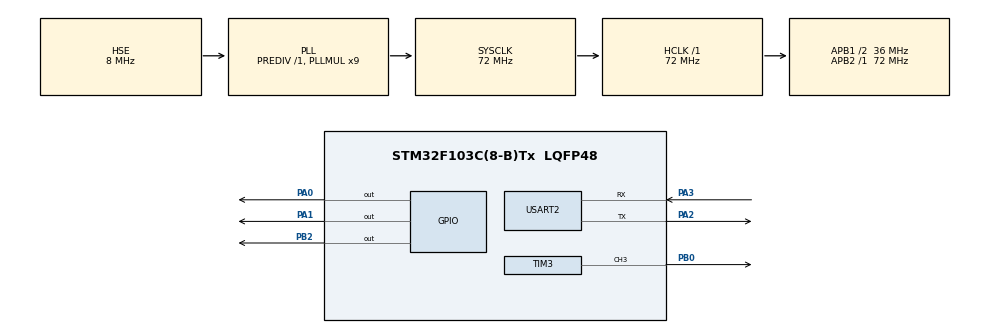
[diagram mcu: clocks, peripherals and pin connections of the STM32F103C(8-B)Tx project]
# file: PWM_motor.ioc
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FREERTOS.Tasks01=defaultTask,0,128,StartDefaultTask,Default,NULL,Dynamic,NULL,NULL
Mcu.Family=STM32F1
Mcu.Name=STM32F103C(8-B)Tx
Mcu.Package=LQFP48
NVIC.PriorityGroup=NVIC_PRIORITYGROUP_4
NVIC.TIM4_IRQn=true\:15\:0\:false\:false\:true\:false\:false\:true\:true
NVIC.TimeBase=TIM4_IRQn
NVIC.TimeBaseIP=TIM4
NVIC.USART2_IRQn=true\:5\:0\:false\:false\:true\:true\:true\:true\:true
PA0-WKUP.Signal=GPIO_Output
PA1.Signal=GPIO_Output
PA13.Mode=Serial_Wire
PA13.Signal=SYS_JTMS-SWDIO
PA14.Mode=Serial_Wire
PA14.Signal=SYS_JTCK-SWCLK
PA2.Mode=Asynchronous
PA2.Signal=USART2_TX
PA3.Mode=Asynchronous
PA3.Signal=USART2_RX
PB0.Signal=S_TIM3_CH3
PB2.Signal=GPIO_Output
PD0-OSC_IN.Mode=HSE-External-Oscillator
PD0-OSC_IN.Signal=RCC_OSC_IN
PD1-OSC_OUT.Mode=HSE-External-Oscillator
PD1-OSC_OUT.Signal=RCC_OSC_OUT
ProjectManager.HeapSize=0x200
ProjectManager.StackSize=0x400
ProjectManager.TargetToolchain=MDK-ARM V5.32
RCC.AHBFreq_Value=72000000
RCC.APB1CLKDivider=RCC_HCLK_DIV2
RCC.APB1Freq_Value=36000000
RCC.APB1TimFreq_Value=72000000
RCC.APB2Freq_Value=72000000
RCC.APB2TimFreq_Value=72000000
RCC.HCLKFreq_Value=72000000
RCC.PLLMUL=RCC_PLL_MUL9
RCC.PLLSourceVirtual=RCC_PLLSOURCE_HSE
RCC.SYSCLKFreq_VALUE=72000000
RCC.SYSCLKSource=RCC_SYSCLKSOURCE_PLLCLK
RCC.USBFreq_Value=72000000
SH.S_TIM3_CH3.0=TIM3_CH3,PWM Generation3 CH3
TIM3.Channel-PWM\ Generation3\ CH3=TIM_CHANNEL_3
TIM3.Period=999
TIM3.Prescaler=71
USART2.VirtualMode=VM_ASYNC
VP_FREERTOS_VS_CMSIS_V1.Mode=CMSIS_V1
VP_SYS_VS_tim4.Mode=TIM4
VP_TIM3_VS_ClockSourceINT.Mode=Internal
board=custom

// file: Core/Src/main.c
/* USER CODE BEGIN Header */
/**
  ******************************************************************************
  * @file           : main.c
  * @brief          : Main program body
  ******************************************************************************
  * @attention
  *
  * Copyright (c) 2022 STMicroelectronics.
  * All rights reserved.
  *
  * This software is licensed under terms that can be found in the LICENSE file
  * in the root directory of this software component.
  * If no LICENSE file comes with this software, it is provided AS-IS.
  *
  ******************************************************************************
  */
/* USER CODE END Header */
#include "main.h"
#include "cmsis_os.h"

 TIM_HandleTypeDef htim3;

UART_HandleTypeDef huart2;

osThreadId defaultTaskHandle;
/* USER CODE BEGIN PV */
osThreadId taskABSHanlde;
osThreadId taskNormalHandle;
uint8_t vehicle_speed = 100;
uint8_t wheel_speed = 0;
uint16_t pwm_value = 0;
float slip_ratio = 0;
uint8_t RxBuffer[5];
uint8_t cnt;
uint8_t cnt1;
uint8_t cnt2;
/* USER CODE END PV */

void SystemClock_Config(void);
static void MX_GPIO_Init(void);
static void MX_TIM3_Init(void);
static void MX_USART2_UART_Init(void);
void StartDefaultTask(void const * argument);

/* USER CODE BEGIN PFP */
void StartTaskABS();
void StartTaskNormal();
/* USER CODE END PFP */

/* USER CODE BEGIN 0 */
void HAL_UART_RxCpltCallback(UART_HandleTypeDef *huart){
	wheel_speed = RxBuffer[0];
	cnt++;
	HAL_UART_Receive_IT(&huart2,RxBuffer,1);
}
/* USER CODE END 0 */

int main(void)
{

  /* MCU Configuration--------------------------------------------------------*/

  /* Reset of all peripherals, Initializes the Flash interface and the Systick. */
  HAL_Init();

  /* Configure the system clock */
  SystemClock_Config();

  /* Initialize all configured peripherals */
  MX_GPIO_Init();
  MX_TIM3_Init();
  MX_USART2_UART_Init();
  /* USER CODE BEGIN 2 */
	HAL_GPIO_WritePin(GPIOA,GPIO_PIN_0,GPIO_PIN_SET);
	HAL_GPIO_WritePin(GPIOA,GPIO_PIN_1,GPIO_PIN_RESET);

	HAL_UART_Receive_IT(&huart2,RxBuffer,1);
	HAL_TIM_PWM_Start(&htim3,TIM_CHANNEL_3);

  /* USER CODE END 2 */

  /* Create the thread(s) */
  /* definition and creation of defaultTask */
  osThreadDef(defaultTask, StartDefaultTask, osPriorityNormal, 0, 128);
  defaultTaskHandle = osThreadCreate(osThread(defaultTask), NULL);

  /* USER CODE BEGIN RTOS_THREADS */
  osThreadDef(taskABS,StartTaskABS,osPriorityBelowNormal,0,128);
	taskABSHanlde = osThreadCreate(osThread(taskABS),NULL);

	osThreadDef(taskNormal,StartTaskNormal,osPriorityBelowNormal,0,128);
	taskNormalHandle = osThreadCreate(osThread(taskNormal),NULL);
  /* USER CODE END RTOS_THREADS */

  /* Start scheduler */
  osKernelStart();

  /* We should never get here as control is now taken by the scheduler */
  /* Infinite loop */
  while (1)
  {

  }
}

void SystemClock_Config(void)
{
  RCC_OscInitTypeDef RCC_OscInitStruct = {0};
  RCC_ClkInitTypeDef RCC_ClkInitStruct = {0};

  /** Initializes the RCC Oscillators according to the specified parameters
  * in the RCC_OscInitTypeDef structure.
  */
  RCC_OscInitStruct.OscillatorType = RCC_OSCILLATORTYPE_HSE;
  RCC_OscInitStruct.HSEState = RCC_HSE_ON;
  RCC_OscInitStruct.HSEPredivValue = RCC_HSE_PREDIV_DIV1;
  RCC_OscInitStruct.HSIState = RCC_HSI_ON;
  RCC_OscInitStruct.PLL.PLLState = RCC_PLL_ON;
  RCC_OscInitStruct.PLL.PLLSource = RCC_PLLSOURCE_HSE;
  RCC_OscInitStruct.PLL.PLLMUL = RCC_PLL_MUL9;
  if (HAL_RCC_OscConfig(&RCC_OscInitStruct) != HAL_OK)
  {
    Error_Handler();
  }

  /** Initializes the CPU, AHB and APB buses clocks
  */
  RCC_ClkInitStruct.ClockType = RCC_CLOCKTYPE_HCLK|RCC_CLOCKTYPE_SYSCLK
                              |RCC_CLOCKTYPE_PCLK1|RCC_CLOCKTYPE_PCLK2;
  RCC_ClkInitStruct.SYSCLKSource = RCC_SYSCLKSOURCE_PLLCLK;
  RCC_ClkInitStruct.AHBCLKDivider = RCC_SYSCLK_DIV1;
  RCC_ClkInitStruct.APB1CLKDivider = RCC_HCLK_DIV2;
  RCC_ClkInitStruct.APB2CLKDivider = RCC_HCLK_DIV1;

  if (HAL_RCC_ClockConfig(&RCC_ClkInitStruct, FLASH_LATENCY_2) != HAL_OK)
  {
    Error_Handler();
  }
}

static void MX_TIM3_Init(void)
{

  TIM_ClockConfigTypeDef sClockSourceConfig = {0};
  TIM_MasterConfigTypeDef sMasterConfig = {0};
  TIM_OC_InitTypeDef sConfigOC = {0};

  htim3.Instance = TIM3;
  htim3.Init.Prescaler = 71;
  htim3.Init.CounterMode = TIM_COUNTERMODE_UP;
  htim3.Init.Period = 999;
  htim3.Init.ClockDivision = TIM_CLOCKDIVISION_DIV1;
  htim3.Init.AutoReloadPreload = TIM_AUTORELOAD_PRELOAD_DISABLE;
  if (HAL_TIM_Base_Init(&htim3) != HAL_OK)
  {
    Error_Handler();
  }
  sClockSourceConfig.ClockSource = TIM_CLOCKSOURCE_INTERNAL;
  if (HAL_TIM_ConfigClockSource(&htim3, &sClockSourceConfig) != HAL_OK)
  {
    Error_Handler();
  }
  if (HAL_TIM_PWM_Init(&htim3) != HAL_OK)
  {
    Error_Handler();
  }
  sMasterConfig.MasterOutputTrigger = TIM_TRGO_RESET;
  sMasterConfig.MasterSlaveMode = TIM_MASTERSLAVEMODE_DISABLE;
  if (HAL_TIMEx_MasterConfigSynchronization(&htim3, &sMasterConfig) != HAL_OK)
  {
    Error_Handler();
  }
  sConfigOC.OCMode = TIM_OCMODE_PWM1;
  sConfigOC.Pulse = 0;
  sConfigOC.OCPolarity = TIM_OCPOLARITY_HIGH;
  sConfigOC.OCFastMode = TIM_OCFAST_DISABLE;
  if (HAL_TIM_PWM_ConfigChannel(&htim3, &sConfigOC, TIM_CHANNEL_3) != HAL_OK)
  {
    Error_Handler();
  }
  HAL_TIM_MspPostInit(&htim3);

}

static void MX_USART2_UART_Init(void)
{

  huart2.Instance = USART2;
  huart2.Init.BaudRate = 115200;
  huart2.Init.WordLength = UART_WORDLENGTH_8B;
  huart2.Init.StopBits = UART_STOPBITS_1;
  huart2.Init.Parity = UART_PARITY_NONE;
  huart2.Init.Mode = UART_MODE_TX_RX;
  huart2.Init.HwFlowCtl = UART_HWCONTROL_NONE;
  huart2.Init.OverSampling = UART_OVERSAMPLING_16;
  if (HAL_UART_Init(&huart2) != HAL_OK)
  {
    Error_Handler();
  }

}

static void MX_GPIO_Init(void)
{
  GPIO_InitTypeDef GPIO_InitStruct = {0};

  /* GPIO Ports Clock Enable */
  __HAL_RCC_GPIOD_CLK_ENABLE();
  __HAL_RCC_GPIOA_CLK_ENABLE();
  __HAL_RCC_GPIOB_CLK_ENABLE();

  /*Configure GPIO pin Output Level */
  HAL_GPIO_WritePin(GPIOA, GPIO_PIN_0|GPIO_PIN_1, GPIO_PIN_RESET);

  /*Configure GPIO pin Output Level */
  HAL_GPIO_WritePin(GPIOB, GPIO_PIN_2, GPIO_PIN_RESET);

  /*Configure GPIO pins : PA0 PA1 */
  GPIO_InitStruct.Pin = GPIO_PIN_0|GPIO_PIN_1;
  GPIO_InitStruct.Mode = GPIO_MODE_OUTPUT_PP;
  GPIO_InitStruct.Pull = GPIO_NOPULL;
  GPIO_InitStruct.Speed = GPIO_SPEED_FREQ_LOW;
  HAL_GPIO_Init(GPIOA, &GPIO_InitStruct);

  /*Configure GPIO pin : PB2 */
  GPIO_InitStruct.Pin = GPIO_PIN_2;
  GPIO_InitStruct.Mode = GPIO_MODE_OUTPUT_PP;
  GPIO_InitStruct.Pull = GPIO_NOPULL;
  GPIO_InitStruct.Speed = GPIO_SPEED_FREQ_LOW;
  HAL_GPIO_Init(GPIOB, &GPIO_InitStruct);

}

/* USER CODE BEGIN 4 */
void StartTaskABS(){
	while(1){
		for(uint8_t i=0;i<100;i++){
			wheel_speed++;
			HAL_UART_Receive_IT(&huart2,RxBuffer,1);
			pwm_value = wheel_speed * 10;
			__HAL_TIM_SetCompare(&htim3,TIM_CHANNEL_3,pwm_value);
			slip_ratio = (vehicle_speed - wheel_speed)*1.0/vehicle_speed;
			if(slip_ratio < 0.4){
				osThreadResume(defaultTaskHandle);
			}
			osDelay(100);
		}
	}
}

void StartTaskNormal(){
	while(1){
		HAL_UART_Receive_IT(&huart2,RxBuffer,1);
		pwm_value = wheel_speed * 10;
		__HAL_TIM_SetCompare(&htim3,TIM_CHANNEL_3,pwm_value);
		slip_ratio = (vehicle_speed - wheel_speed)*1.0/vehicle_speed;
		if(slip_ratio < 0.4){
			osThreadResume(defaultTaskHandle);
		}
	}
}
/* USER CODE END 4 */

void StartDefaultTask(void const * argument)
{
  /* USER CODE BEGIN 5 */
  /* Infinite loop */
  while(1){
		osThreadSuspend(taskABSHanlde);
		osThreadSuspend(taskNormalHandle);
		HAL_UART_Receive_IT(&huart2,RxBuffer,1);
		pwm_value = wheel_speed * 10;
		__HAL_TIM_SetCompare(&htim3,TIM_CHANNEL_3,pwm_value);
		slip_ratio = (vehicle_speed - wheel_speed)*1.0/vehicle_speed;
		if(wheel_speed == 5){
			cnt2++;
			osThreadResume(taskNormalHandle);
			osThreadSuspend(NULL);
		}
		if(slip_ratio > 0.9){
			cnt1++;
			osThreadResume(taskABSHanlde);
			osThreadSuspend(NULL);
		}
	}
  /* USER CODE END 5 */
}

void HAL_TIM_PeriodElapsedCallback(TIM_HandleTypeDef *htim)
{
  if (htim->Instance == TIM4) {
    HAL_IncTick();
  }
}

void Error_Handler(void)
{
  __disable_irq();
  while (1)
  {
  }
}
